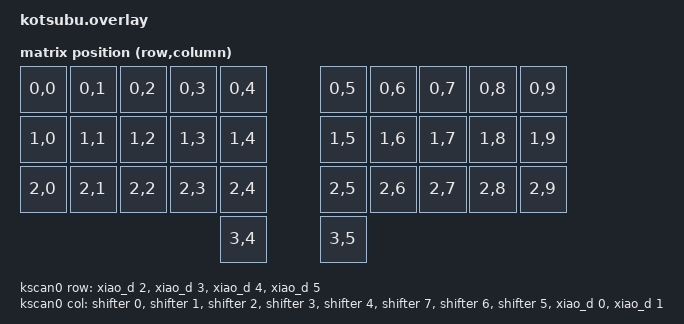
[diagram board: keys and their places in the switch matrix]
#include <dt-bindings/zmk/matrix_transform.h>
#include "./kotsubu-layouts.dtsi"

/* UART占有を避けたい時など（XIAO BLEのTX/RXをGPIOで使う場合も必須） */
&xiao_serial { status = "disabled"; };

/* ---------- 74HC595 (SIPO) をGPIOとして扱う ---------- */
&xiao_spi {
/* ---------- 74HC595 (SIPO) をGPIOとして扱う ---------- */
&xiao_spi {
    status = "okay";

    /* 74HC595のRCLK/LATCHピン（ラッチ/CS）をD7に接続 */
    cs-gpios = <&xiao_d 7 GPIO_ACTIVE_LOW>;

    shifter: 595@0 {
        compatible = "zmk,gpio-595";
        status = "okay";
        gpio-controller;
        spi-max-frequency = <200000>;
        reg = <0>;
        #gpio-cells = <2>;
        ngpios = <8>;
    };
};

/* ---------- KSCAN (10 cols x 4 rows) ---------- */

/ {
  kscan0: kscan_0 {
      compatible = "zmk,kscan-gpio-matrix";
      diode-direction = "col2row";
      wakeup-source;

      /* COL0-7: 74HC595、COL8-9: MCU直結 */
      col-gpios
          = <&shifter 0 GPIO_ACTIVE_HIGH>   /* QA -> COL0 */
          , <&shifter 1 GPIO_ACTIVE_HIGH>   /* QB -> COL1 */
          , <&shifter 2 GPIO_ACTIVE_HIGH>   /* QC -> COL2 */
          , <&shifter 3 GPIO_ACTIVE_HIGH>   /* QD -> COL3 */
          , <&shifter 4 GPIO_ACTIVE_HIGH>   /* QE -> COL4 */
          , <&shifter 7 GPIO_ACTIVE_HIGH>   /* QF/QG/QHの配線都合で入れ替え */
          , <&shifter 6 GPIO_ACTIVE_HIGH>
          , <&shifter 5 GPIO_ACTIVE_HIGH>
          , <&xiao_d 0 GPIO_ACTIVE_HIGH>    /* COL8 */
          , <&xiao_d 1 GPIO_ACTIVE_HIGH>    /* COL9 */
          ;

      row-gpios
          = <&xiao_d 2 (GPIO_ACTIVE_HIGH | GPIO_PULL_DOWN)> /* ROW0 */
          , <&xiao_d 3 (GPIO_ACTIVE_HIGH | GPIO_PULL_DOWN)> /* ROW1 */
          , <&xiao_d 4 (GPIO_ACTIVE_HIGH | GPIO_PULL_DOWN)> /* ROW2 */
          , <&xiao_d 5 (GPIO_ACTIVE_HIGH | GPIO_PULL_DOWN)> /* ROW3 */
          ;
  };

      default_transform: default_transform {
          compatible = "zmk,matrix-transform";
          columns = <10>;
          rows = <4>;
          map = <
              RC(0,0) RC(0,1) RC(0,2) RC(0,3) RC(0,4) RC(0,5) RC(0,6) RC(0,7) RC(0,8) RC(0,9)
              RC(1,0) RC(1,1) RC(1,2) RC(1,3) RC(1,4) RC(1,5) RC(1,6) RC(1,7) RC(1,8) RC(1,9)
              RC(2,0) RC(2,1) RC(2,2) RC(2,3) RC(2,4) RC(2,5) RC(2,6) RC(2,7) RC(2,8) RC(2,9)
                                RC(3,4) RC(3,5)
          >;
      };

      /* --- soft-off の起床ソース --- */
      soft_off_wakers {
          compatible = "zmk,soft-off-wakeup-sources";
          wakeup-sources = <&kscan0>;
      };

  chosen {
    zmk,kscan = &kscan0;
    zmk,matrix-transform = &default_transform;
    zmk,matrix_transform = &default_transform;
  };
};
